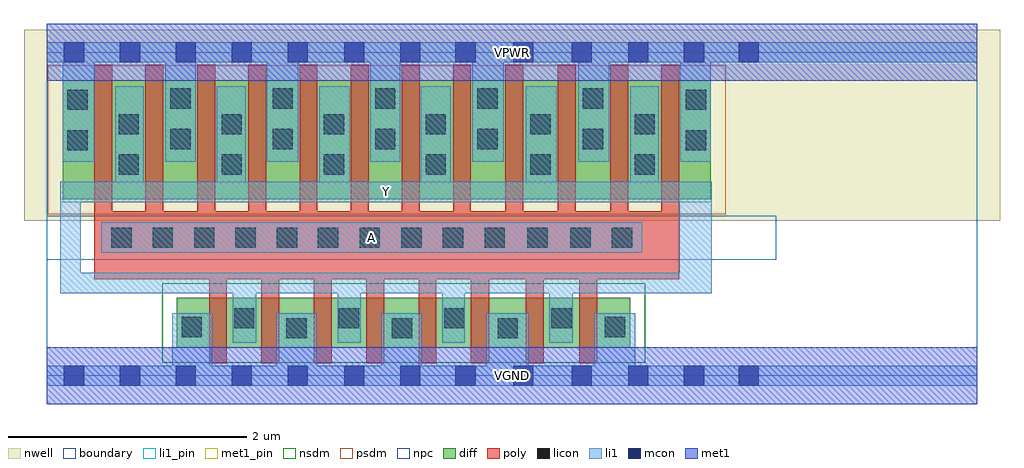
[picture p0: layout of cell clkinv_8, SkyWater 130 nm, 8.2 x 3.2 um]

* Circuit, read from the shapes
.subckt clkinv_8 A VGND VPWR Y
XM1 Y A VGND VSUBS sky130_fd_pr__nfet_01v8 w=0.42 l=0.15 m=7
XM2 VGND A Y VSUBS sky130_fd_pr__nfet_01v8 w=0.42 l=0.155
XM3 Y A VPWR n1 sky130_fd_pr__pfet_01v8 w=1 l=0.15 m=12
.ends

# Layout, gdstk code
import gdstk
lib = gdstk.Library(unit=1e-6, precision=1e-09)
def R(c, l, rs):  # rectangles x0, y0, x1, y1
    for r in rs: c.add(gdstk.rectangle(r[:2], r[2:], *l))
def A(c, l, x, y, w, h, nx, ny, dx, dy):  # array of equal rectangles
    R(c, l, [(x+i*dx, y+j*dy, x+i*dx+w, y+j*dy+h) for i in range(nx) for j in range(ny)])
nwell = (64, 20)
diff = (65, 20)
poly = (66, 20)
licon = (66, 44)
li1_pin = (67, 16)
li1 = (67, 20)
mcon = (67, 44)
met1_pin = (68, 16)
met1 = (68, 20)
nsdm = (93, 44)
psdm = (94, 20)
npc = (95, 20)
boundary = (235, 4)

clkinv_8 = lib.new_cell('clkinv_8')
R(clkinv_8, nwell, [(-0.19,1.305,8.01,2.91), (0,1.305,7.82,2.91)])
R(clkinv_8, diff, [(1.095,0.235,4.905,0.655), (0.135,1.485,5.58,2.485)])
A(clkinv_8, poly, 1.365, 0.105, 0.15, 1.28, 5, 1, 0.44, 0)
A(clkinv_8, poly, 1.265, 0.81, 0.15, 1.805, 6, 1, 0.43, 0)
A(clkinv_8, poly, 3.855, 0.81, 0.15, 1.805, 3, 1, 0.44, 0)
R(clkinv_8, poly, [(3.565,0.105,3.72,1.385), (4.025,0.105,4.175,1.385), (4.475,0.105,4.625,1.385), (0.4,0.81,5.315,1.385), (0.4,0.81,0.55,2.615), (0.83,0.81,0.98,2.615), (5.165,0.81,5.315,2.615)])
A(clkinv_8, licon, 2.28, 1.075, 0.17, 0.17, 5, 1, 0.35, 0)
A(clkinv_8, licon, 1.04, 1.905, 0.17, 0.17, 4, 2, 0.86, 0.34)
R(clkinv_8, licon, [(2.015,0.315,2.185,0.485), (2.9,0.315,3.07,0.485), (3.79,0.315,3.96,0.485), (1.135,0.325,1.305,0.495), (4.69,0.325,4.86,0.495), (1.575,0.4,1.745,0.57), (2.455,0.4,2.625,0.57), (3.34,0.4,3.51,0.57), (4.24,0.4,4.41,0.57), (0.545,1.075,0.715,1.245), (0.89,1.075,1.06,1.245), (1.24,1.075,1.41,1.245), (1.585,1.075,1.755,1.245), (1.935,1.075,2.105,1.245), (4.04,1.075,4.21,1.245), (4.4,1.075,4.57,1.245), (4.75,1.075,4.92,1.245), (0.605,1.69,0.775,1.86), (1.47,1.69,1.64,1.86), (2.33,1.69,2.5,1.86), (3.185,1.69,3.355,1.86), (4.065,1.69,4.235,1.86), (4.94,1.69,5.11,1.86), (0.175,1.895,0.345,2.065), (5.37,1.895,5.54,2.065), (4.505,1.905,4.675,2.075), (0.605,2.03,0.775,2.2), (1.47,2.03,1.64,2.2), (2.33,2.03,2.5,2.2), (3.185,2.03,3.355,2.2), (4.065,2.03,4.235,2.2), (4.94,2.03,5.11,2.2), (0.175,2.235,0.345,2.405), (5.37,2.235,5.54,2.405), (4.505,2.245,4.675,2.415)])
R(clkinv_8, li1_pin, [(0.46,1.035,5.005,1.29), (0.115,1.46,5.59,1.63)])
R(clkinv_8, li1, [(0,-0.085,7.82,0.085), (1.055,-0.085,1.39,0.525), (1.93,-0.085,2.27,0.525), (2.81,-0.085,3.15,0.525), (3.695,-0.085,4.05,0.525), (4.6,-0.085,4.945,0.525), (1.565,0.28,1.76,0.865), (2.445,0.28,2.64,0.865), (3.325,0.28,3.515,0.865), (4.225,0.28,4.42,0.865), (0.115,0.695,5.59,0.865), (0.115,0.695,0.285,1.63), (5.315,0.695,5.59,1.63), (0.46,1.035,5.005,1.29), (0.115,1.46,5.59,1.63), (0.575,1.46,0.815,2.435), (1.43,1.46,1.675,2.435), (2.29,1.46,2.545,2.435), (3.145,1.46,3.395,2.435), (4.025,1.46,4.285,2.435), (4.905,1.46,5.145,2.435), (0.135,1.8,0.4,2.805), (0.995,1.8,1.255,2.805), (1.85,1.8,2.115,2.805), (2.72,1.8,2.97,2.805), (3.575,1.8,3.84,2.805), (4.465,1.8,4.725,2.805), (5.325,1.8,5.58,2.805), (0,2.635,7.82,2.805)])
A(clkinv_8, mcon, 0.145, -0.085, 0.17, 0.17, 5, 2, 0.47, 2.72)
R(clkinv_8, mcon, [(2.5,-0.085,2.67,0.085), (2.97,-0.085,3.14,0.085), (3.435,-0.085,3.605,0.085), (3.92,-0.085,4.09,0.085), (4.41,-0.085,4.58,0.085), (4.885,-0.085,5.055,0.085), (5.355,-0.085,5.525,0.085), (5.815,-0.085,5.985,0.085), (2.5,2.635,2.67,2.805), (2.97,2.635,3.14,2.805), (3.435,2.635,3.605,2.805), (3.92,2.635,4.09,2.805), (4.41,2.635,4.58,2.805), (4.885,2.635,5.055,2.805), (5.355,2.635,5.525,2.805), (5.815,2.635,5.985,2.805)])
R(clkinv_8, met1_pin, [(0,-0.24,7.82,0.24), (0,2.48,7.82,2.96)])
R(clkinv_8, met1, [(0,-0.24,7.82,0.24), (0,2.48,7.82,2.96)])
R(clkinv_8, nsdm, [(0.97,0.11,5.03,0.78)])
R(clkinv_8, psdm, [(0.01,1.36,5.705,2.61)])
R(clkinv_8, npc, [(0,0.975,6.13,1.345)])
R(clkinv_8, boundary, [(0,0,7.82,2.72)])
clkinv_8.add(gdstk.Label('A', (2.732,1.162), layer=67, texttype=5))
clkinv_8.add(gdstk.Label('Y', (2.852,1.545), layer=67, texttype=5))
clkinv_8.add(gdstk.Label('VPWR', (3.91,2.72), layer=68, texttype=5))
clkinv_8.add(gdstk.Label('VGND', (3.91,0), layer=68, texttype=5))
clkinv_8.add(gdstk.Label('A', (2.732,1.162), layer=67, texttype=16))
clkinv_8.add(gdstk.Label('Y', (2.852,1.545), layer=67, texttype=16))
clkinv_8.add(gdstk.Label('VPWR', (3.91,2.72), layer=68, texttype=16))
clkinv_8.add(gdstk.Label('VGND', (3.91,0), layer=68, texttype=16))

lib.write_gds('clkinv_8.gds')
